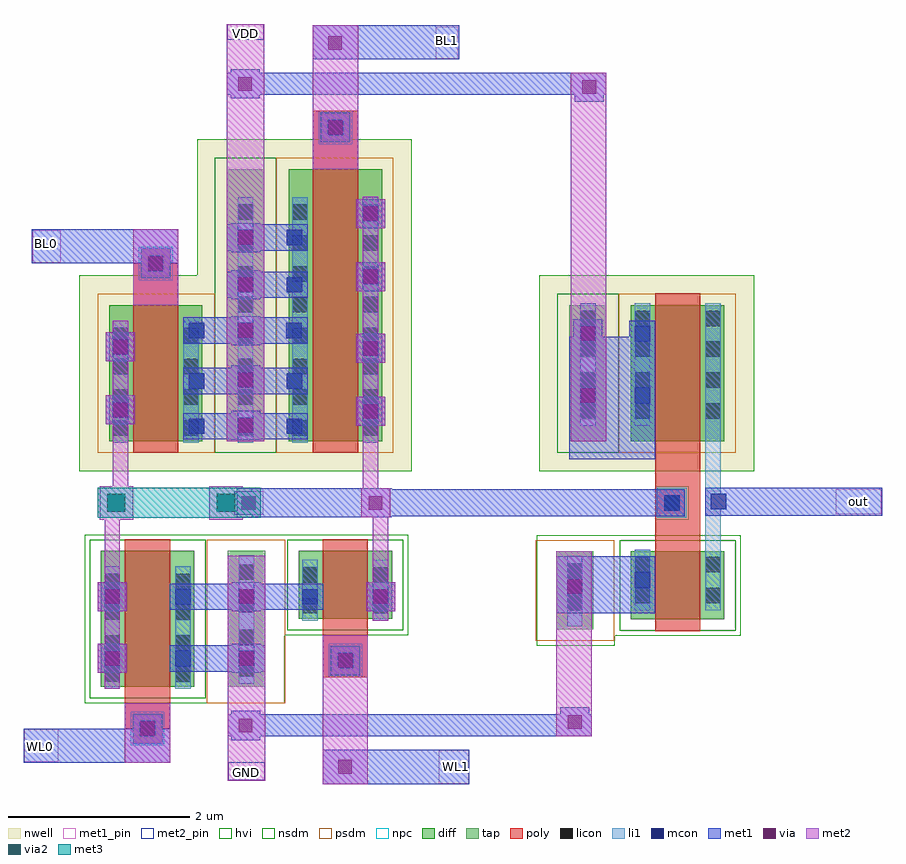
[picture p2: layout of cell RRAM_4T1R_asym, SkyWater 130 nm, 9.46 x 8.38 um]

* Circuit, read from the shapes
.subckt RRAM_4T1R_asym BL0 BL1 GND VDD WL0 WL1 out
XM1 GND WL0 rram2_0_2/BE GND sky130_fd_pr__nfet_g5v0d10v5 w=1.5 l=0.5
XM2 rram2_0_2/BE WL1 GND GND sky130_fd_pr__nfet_g5v0d10v5 w=0.75 l=0.5
XM3 out rram2_0_2/BE GND GND sky130_fd_pr__nfet_g5v0d10v5 w=0.75 l=0.5
XM4 VDD BL0 rram2_0_2/BE VDD sky130_fd_pr__pfet_g5v0d10v5 w=1.5 l=0.5
XM5 rram2_0_2/BE BL1 VDD VDD sky130_fd_pr__pfet_g5v0d10v5 w=3 l=0.5
XM6 out rram2_0_2/BE VDD VDD sky130_fd_pr__pfet_g5v0d10v5 w=1.5 l=0.5
.ends

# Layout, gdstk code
from math import pi, radians
import gdstk
lib = gdstk.Library(unit=1e-6, precision=1e-09)
def R(c, l, rs):  # rectangles x0, y0, x1, y1
    for r in rs: c.add(gdstk.rectangle(r[:2], r[2:], *l))
def A(c, l, x, y, w, h, nx, ny, dx, dy):  # array of equal rectangles
    R(c, l, [(x+i*dx, y+j*dy, x+i*dx+w, y+j*dy+h) for i in range(nx) for j in range(ny)])
nwell = (64, 20)
diff = (65, 20)
tap = (65, 44)
poly = (66, 20)
licon = (66, 44)
li1 = (67, 20)
mcon = (67, 44)
met1_pin = (68, 16)
met1 = (68, 20)
via = (68, 44)
met2_pin = (69, 16)
met2 = (69, 20)
via2 = (69, 44)
met3 = (70, 20)
hvi = (75, 20)
nsdm = (93, 44)
psdm = (94, 20)
npc = (95, 20)

dfl1sd_cdns_630369580171 = lib.new_cell('DFL1sd_CDNS_6303695801715')
R(dfl1sd_cdns_630369580171, nwell, [(-0.18,-0.18,0.445,3.18)])
R(dfl1sd_cdns_630369580171, diff, [(0,0,0.265,3)])
A(dfl1sd_cdns_630369580171, licon, 0.055, 0.06, 0.17, 0.17, 1, 8, 0, 0.34)
R(dfl1sd_cdns_630369580171, li1, [(0.055,-0.02,0.225,2.69)])
R(dfl1sd_cdns_630369580171, psdm, [(-0.125,-0.125,0.39,3.125)])

pfet_symbolic_cdns_63036 = lib.new_cell('pfet_symbolic_CDNS_6303695801714')
R(pfet_symbolic_cdns_63036, nwell, [(-0.445,-0.18,0.945,3.18)])
R(pfet_symbolic_cdns_63036, diff, [(-0.25,0,0,3), (0,0,0.5,3), (0.5,0,0.75,3)])
R(pfet_symbolic_cdns_63036, poly, [(0,-0.13,0.5,0), (0,-0.13,0.5,3.13), (0,3,0.5,3.13)])
R(pfet_symbolic_cdns_63036, li1, [(-0.225,-0.02,-0.055,2.69), (0.555,-0.02,0.725,2.69)])
R(pfet_symbolic_cdns_63036, psdm, [(-0.25,-0.125,0.75,3.125)])
pfet_symbolic_cdns_63036.add(gdstk.Reference(dfl1sd_cdns_630369580171, (0,0), rotation=pi, x_reflection=True))
pfet_symbolic_cdns_63036.add(gdstk.Reference(dfl1sd_cdns_630369580171, (0.5,0)))
pfet_symbolic_cdns_63036.add(gdstk.Label('S', (-0.14,1.335), layer=83, texttype=44))
pfet_symbolic_cdns_63036.add(gdstk.Label('D', (0.64,1.335), layer=83, texttype=44))

pfet_cdns_6303695801713 = lib.new_cell('pfet_CDNS_6303695801713')
R(pfet_cdns_6303695801713, nwell, [(-1.275,-0.33,-0.445,3.33), (-0.595,-0.33,1.095,3.33)])
R(pfet_cdns_6303695801713, tap, [(-0.945,0,-0.535,3)])
A(pfet_cdns_6303695801713, licon, -0.825, 0.06, 0.17, 0.17, 1, 8, 0, 0.34)
R(pfet_cdns_6303695801713, li1, [(-0.825,-0.02,-0.655,2.69)])
R(pfet_cdns_6303695801713, hvi, [(-1.275,-0.33,-0.445,3.33), (-0.595,-0.33,1.095,3.33)])
R(pfet_cdns_6303695801713, nsdm, [(-1.08,-0.125,-0.4,3.125)])
R(pfet_cdns_6303695801713, psdm, [(-0.4,-0.125,-0.39,3.125)])
pfet_cdns_6303695801713.add(gdstk.Reference(pfet_symbolic_cdns_63036, (0,0)))

dfl1sd_cdns_630369580179 = lib.new_cell('DFL1sd_CDNS_630369580179')
R(dfl1sd_cdns_630369580179, diff, [(0,0,0.265,1.5)])
A(dfl1sd_cdns_630369580179, licon, 0.055, 0.06, 0.17, 0.17, 1, 4, 0, 0.34)
R(dfl1sd_cdns_630369580179, li1, [(0.055,-0.02,0.225,1.33)])
R(dfl1sd_cdns_630369580179, nsdm, [(-0.125,-0.125,0.39,1.625)])

nfet_symbolic_cdns_63036 = lib.new_cell('nfet_symbolic_CDNS_630369580178')
R(nfet_symbolic_cdns_63036, diff, [(-0.25,0,0,1.5), (0,0,0.5,1.5), (0.5,0,0.75,1.5)])
R(nfet_symbolic_cdns_63036, poly, [(0,-0.13,0.5,0), (0,-0.13,0.5,1.63), (0,1.5,0.5,1.63)])
R(nfet_symbolic_cdns_63036, li1, [(-0.225,-0.02,-0.055,1.33), (0.555,-0.02,0.725,1.33)])
R(nfet_symbolic_cdns_63036, nsdm, [(-0.25,-0.125,0.75,1.625)])
nfet_symbolic_cdns_63036.add(gdstk.Reference(dfl1sd_cdns_630369580179, (0,0), rotation=pi, x_reflection=True))
nfet_symbolic_cdns_63036.add(gdstk.Reference(dfl1sd_cdns_630369580179, (0.5,0)))
nfet_symbolic_cdns_63036.add(gdstk.Label('S', (-0.14,0.655), layer=83, texttype=44))
nfet_symbolic_cdns_63036.add(gdstk.Label('D', (0.64,0.655), layer=83, texttype=44))

nfet_cdns_630369580177 = lib.new_cell('nfet_CDNS_630369580177')
R(nfet_cdns_630369580177, hvi, [(-0.445,-0.18,0.945,1.68)])
nfet_cdns_630369580177.add(gdstk.Reference(nfet_symbolic_cdns_63036, (0,0)))

rram2_0 = lib.new_cell('rram2_0')
R(rram2_0, met1_pin, [(-0.16,-0.13,0.16,0.13)])
R(rram2_0, met1, [(-0.16,-0.13,0.16,0.13)])
R(rram2_0, via, [(-0.075,-0.075,0.075,0.075)])
R(rram2_0, met2_pin, [(-0.13,-0.16,0.13,0.16)])
R(rram2_0, met2, [(-0.13,-0.16,0.13,0.16)])
rram2_0.add(gdstk.Label('TE', (0,0), layer=69, texttype=5))
rram2_0.add(gdstk.Label('BE', (0,0), layer=68, texttype=5))

dfl1sd_cdns_630369580176 = lib.new_cell('DFL1sd_CDNS_630369580176')
R(dfl1sd_cdns_630369580176, diff, [(0,0,0.265,0.75)])
R(dfl1sd_cdns_630369580176, licon, [(0.055,0.06,0.225,0.23), (0.055,0.4,0.225,0.57)])
R(dfl1sd_cdns_630369580176, li1, [(0.055,-0.02,0.225,0.65)])
R(dfl1sd_cdns_630369580176, nsdm, [(-0.125,-0.125,0.39,0.875)])

c_nfet_symbolic_cdns_63036 = lib.new_cell('nfet_symbolic_CDNS_630369580175')
R(c_nfet_symbolic_cdns_63036, diff, [(-0.25,0,0,0.75), (0,0,0.5,0.75), (0.5,0,0.75,0.75)])
R(c_nfet_symbolic_cdns_63036, poly, [(0,-0.13,0.5,0), (0,-0.13,0.5,0.88), (0,0.75,0.5,0.88)])
R(c_nfet_symbolic_cdns_63036, li1, [(-0.225,-0.02,-0.055,0.65), (0.555,-0.02,0.725,0.65)])
R(c_nfet_symbolic_cdns_63036, nsdm, [(-0.25,-0.125,0.75,0.875)])
c_nfet_symbolic_cdns_63036.add(gdstk.Reference(dfl1sd_cdns_630369580176, (0,0), rotation=pi, x_reflection=True))
c_nfet_symbolic_cdns_63036.add(gdstk.Reference(dfl1sd_cdns_630369580176, (0.5,0)))
c_nfet_symbolic_cdns_63036.add(gdstk.Label('S', (-0.14,0.315), layer=83, texttype=44))
c_nfet_symbolic_cdns_63036.add(gdstk.Label('D', (0.64,0.315), layer=83, texttype=44))

nfet_cdns_630369580174 = lib.new_cell('nfet_CDNS_630369580174')
R(nfet_cdns_630369580174, hvi, [(-0.445,-0.18,0.945,0.93)])
nfet_cdns_630369580174.add(gdstk.Reference(c_nfet_symbolic_cdns_63036, (0,0)))

c_dfl1sd_cdns_630369580171 = lib.new_cell('DFL1sd_CDNS_6303695801712')
R(c_dfl1sd_cdns_630369580171, nwell, [(-0.18,-0.18,0.445,1.68)])
R(c_dfl1sd_cdns_630369580171, diff, [(0,0,0.265,1.5)])
A(c_dfl1sd_cdns_630369580171, licon, 0.055, 0.06, 0.17, 0.17, 1, 4, 0, 0.34)
R(c_dfl1sd_cdns_630369580171, li1, [(0.055,-0.02,0.225,1.33)])
R(c_dfl1sd_cdns_630369580171, psdm, [(-0.125,-0.125,0.39,1.625)])

c_pfet_symbolic_cdns_63036 = lib.new_cell('pfet_symbolic_CDNS_6303695801711')
R(c_pfet_symbolic_cdns_63036, nwell, [(-0.445,-0.18,0.945,1.68)])
R(c_pfet_symbolic_cdns_63036, diff, [(-0.25,0,0,1.5), (0,0,0.5,1.5), (0.5,0,0.75,1.5)])
R(c_pfet_symbolic_cdns_63036, poly, [(0,-0.13,0.5,0), (0,-0.13,0.5,1.63), (0,1.5,0.5,1.63)])
R(c_pfet_symbolic_cdns_63036, li1, [(-0.225,-0.02,-0.055,1.33), (0.555,-0.02,0.725,1.33)])
R(c_pfet_symbolic_cdns_63036, psdm, [(-0.25,-0.125,0.75,1.625)])
c_pfet_symbolic_cdns_63036.add(gdstk.Reference(c_dfl1sd_cdns_630369580171, (0,0), rotation=pi, x_reflection=True))
c_pfet_symbolic_cdns_63036.add(gdstk.Reference(c_dfl1sd_cdns_630369580171, (0.5,0)))
c_pfet_symbolic_cdns_63036.add(gdstk.Label('S', (-0.14,0.655), layer=83, texttype=44))
c_pfet_symbolic_cdns_63036.add(gdstk.Label('D', (0.64,0.655), layer=83, texttype=44))

pfet_cdns_6303695801710 = lib.new_cell('pfet_CDNS_6303695801710')
R(pfet_cdns_6303695801710, nwell, [(-1.275,-0.33,-0.445,1.83), (-0.595,-0.33,1.095,1.83)])
R(pfet_cdns_6303695801710, tap, [(-0.945,0,-0.535,1.5)])
A(pfet_cdns_6303695801710, licon, -0.825, 0.06, 0.17, 0.17, 1, 4, 0, 0.34)
R(pfet_cdns_6303695801710, li1, [(-0.825,-0.02,-0.655,1.33)])
R(pfet_cdns_6303695801710, hvi, [(-1.275,-0.33,-0.445,1.83), (-0.595,-0.33,1.095,1.83)])
R(pfet_cdns_6303695801710, nsdm, [(-1.08,-0.125,-0.4,1.625)])
R(pfet_cdns_6303695801710, psdm, [(-0.4,-0.125,-0.39,1.625)])
pfet_cdns_6303695801710.add(gdstk.Reference(c_pfet_symbolic_cdns_63036, (0,0)))

l1m1_c_cdns_630369580172 = lib.new_cell('L1M1_C_CDNS_6303695801729')
R(l1m1_c_cdns_630369580172, li1, [(-0.085,-0.085,0.085,0.085)])
R(l1m1_c_cdns_630369580172, mcon, [(-0.085,-0.085,0.085,0.085)])
R(l1m1_c_cdns_630369580172, met1, [(-0.16,-0.16,0.16,0.16)])

m1m2_c_cdns_630369580172 = lib.new_cell('M1M2_C_CDNS_6303695801725')
R(m1m2_c_cdns_630369580172, met1, [(-0.16,-0.16,0.16,0.16)])
R(m1m2_c_cdns_630369580172, via, [(-0.075,-0.075,0.075,0.075)])
R(m1m2_c_cdns_630369580172, met2, [(-0.16,-0.16,0.16,0.16)])

pyl1_c_cdns_630369580173 = lib.new_cell('PYL1_C_CDNS_6303695801737')
R(pyl1_c_cdns_630369580173, poly, [(-0.165,-0.165,0.165,0.165)])
R(pyl1_c_cdns_630369580173, licon, [(-0.085,-0.085,0.085,0.085)])
R(pyl1_c_cdns_630369580173, li1, [(-0.165,-0.165,0.165,0.165)])
R(pyl1_c_cdns_630369580173, npc, [(-0.185,-0.185,0.185,0.185)])

l1m1_c_cdns_630369580173 = lib.new_cell('L1M1_C_CDNS_6303695801734')
R(l1m1_c_cdns_630369580173, li1, [(-0.085,-0.085,0.085,0.085)])
R(l1m1_c_cdns_630369580173, mcon, [(-0.085,-0.085,0.085,0.085)])
R(l1m1_c_cdns_630369580173, met1, [(-0.145,-0.145,0.145,0.145)])

m2m3_c_cdns_630369580173 = lib.new_cell('M2M3_C_CDNS_6303695801738')
R(m2m3_c_cdns_630369580173, met2, [(-0.185,-0.185,0.185,0.185)])
R(m2m3_c_cdns_630369580173, via2, [(-0.1,-0.1,0.1,0.1)])
R(m2m3_c_cdns_630369580173, met3, [(-0.165,-0.165,0.165,0.165)])

rram_4t1r_asym = lib.new_cell('RRAM_4T1R_asym')
R(rram_4t1r_asym, tap, [(1.84,-1.28,2.25,0.22), (5.46,-0.645,5.87,0.215)])
R(rram_4t1r_asym, poly, [(0.705,-1.74,1.205,-1.41), (2.885,-1.175,3.385,-0.66), (6.55,0.345,7.05,1.3), (0.795,3.06,1.295,3.39), (2.775,4.56,3.275,5.075)])
R(rram_4t1r_asym, licon, [(1.96,-1.16,2.13,-0.99), (1.96,-0.82,2.13,-0.65), (1.96,-0.455,2.13,-0.285), (5.58,-0.44,5.75,-0.27), (1.96,-0.1,2.13,0.07), (5.58,-0.085,5.75,0.085)])
R(rram_4t1r_asym, li1, [(1.96,-1.245,2.13,0.17), (5.58,-0.61,5.75,0.165), (7.105,0.215,7.275,1.6)])
R(rram_4t1r_asym, met1_pin, [(4.165,-2.345,4.495,-1.98), (-0.405,-2.105,-0.03,-1.745), (8.545,0.625,9.045,0.9), (-0.31,3.395,-0.005,3.755), (4.13,5.645,4.375,6)])
R(rram_4t1r_asym, met1, [(2.885,-2.35,4.5,-1.975), (-0.41,-2.115,1.205,-1.74), (1.84,-1.825,5.855,-1.58), (1.26,-1.11,2.25,-0.82), (5.46,-0.465,6.55,0.16), (1.26,-0.43,2.83,-0.14), (2.105,0.59,3.645,0.91), (3.63,0.605,6.87,0.9), (7.105,0.61,9.055,0.915), (5.605,1.23,6.55,2.58), (1.35,1.45,2.72,1.74), (1.35,1.95,2.72,2.24), (1.35,2.505,2.72,2.795), (1.83,3.01,2.72,3.3), (-0.32,3.39,1.295,3.765), (1.83,3.53,2.72,3.82), (1.83,5.25,6.015,5.495), (2.775,5.64,4.39,6.015)])
R(rram_4t1r_asym, met2_pin, [(1.845,-2.31,2.245,-2.11), (1.835,5.855,2.235,6.025)])
R(rram_4t1r_asym, met2, [(2.885,-2.35,3.385,-0.71), (1.84,-2.315,2.25,0.165), (0.705,-2.115,1.205,-1.46), (5.46,-1.825,5.855,0.215), (0.48,-1.3,0.65,0.915), (3.44,-0.55,3.61,0.91), (0.57,0.59,0.74,2.76), (3.33,0.59,3.5,4.125), (1.83,1.43,2.24,6.03), (5.62,1.43,6.015,5.495), (0.795,2.93,1.295,3.765), (2.775,4.43,3.275,6.015)])
R(rram_4t1r_asym, met3, [(0.405,0.585,2.2,0.915)])
R(rram_4t1r_asym, hvi, [(1.605,-1.46,2.465,0.4), (5.245,-0.825,6.105,0.395)])
R(rram_4t1r_asym, psdm, [(1.61,-1.46,2.475,0.345), (5.235,-0.77,6.1,0.34)])
rram_4t1r_asym.add(gdstk.Reference(pfet_cdns_6303695801713, (2.775,1.43)))
rram_4t1r_asym.add(gdstk.Reference(nfet_cdns_630369580177, (1.205,-1.28), rotation=pi, x_reflection=True))
rram_4t1r_asym.add(gdstk.Reference(rram2_0, (2.07,0.75)))
rram_4t1r_asym.add(gdstk.Reference(nfet_cdns_630369580174, (2.885,-0.53)))
rram_4t1r_asym.add(gdstk.Reference(nfet_cdns_630369580174, (6.55,0.215), x_reflection=True))
rram_4t1r_asym.add(gdstk.Reference(pfet_cdns_6303695801710, (1.295,1.43), rotation=pi, x_reflection=True))
rram_4t1r_asym.add(gdstk.Reference(pfet_cdns_6303695801710, (6.55,2.93), x_reflection=True))
rram_4t1r_asym.add(gdstk.Reference(l1m1_c_cdns_630369580172, (0.565,-0.965)))
rram_4t1r_asym.add(gdstk.Reference(l1m1_c_cdns_630369580172, (3.135,-0.99)))
rram_4t1r_asym.add(gdstk.Reference(l1m1_c_cdns_630369580172, (2.045,-0.965)))
rram_4t1r_asym.add(gdstk.Reference(l1m1_c_cdns_630369580172, (2.045,-0.285)))
rram_4t1r_asym.add(gdstk.Reference(l1m1_c_cdns_630369580172, (0.955,-1.74)))
rram_4t1r_asym.add(gdstk.Reference(l1m1_c_cdns_630369580172, (3.525,-0.285)))
rram_4t1r_asym.add(gdstk.Reference(l1m1_c_cdns_630369580172, (0.565,-0.285)))
rram_4t1r_asym.add(gdstk.Reference(l1m1_c_cdns_630369580172, (0.655,1.775)))
rram_4t1r_asym.add(gdstk.Reference(l1m1_c_cdns_630369580172, (0.655,2.47)))
rram_4t1r_asym.add(gdstk.Reference(l1m1_c_cdns_630369580172, (5.81,2.615)))
rram_4t1r_asym.add(gdstk.Reference(l1m1_c_cdns_630369580172, (1.045,3.39)))
rram_4t1r_asym.add(gdstk.Reference(l1m1_c_cdns_630369580172, (5.665,-0.175)))
rram_4t1r_asym.add(gdstk.Reference(l1m1_c_cdns_630369580172, (2.035,1.605)))
rram_4t1r_asym.add(gdstk.Reference(l1m1_c_cdns_630369580172, (2.035,3.155)))
rram_4t1r_asym.add(gdstk.Reference(l1m1_c_cdns_630369580172, (2.035,2.65)))
rram_4t1r_asym.add(gdstk.Reference(l1m1_c_cdns_630369580172, (2.035,2.105)))
rram_4t1r_asym.add(gdstk.Reference(l1m1_c_cdns_630369580172, (2.035,3.675)))
rram_4t1r_asym.add(gdstk.Reference(l1m1_c_cdns_630369580172, (3.025,4.89)))
rram_4t1r_asym.add(gdstk.Reference(l1m1_c_cdns_630369580172, (3.415,1.76)))
rram_4t1r_asym.add(gdstk.Reference(l1m1_c_cdns_630369580172, (3.415,2.455)))
rram_4t1r_asym.add(gdstk.Reference(l1m1_c_cdns_630369580172, (3.415,3.94)))
rram_4t1r_asym.add(gdstk.Reference(l1m1_c_cdns_630369580172, (3.415,3.245)))
rram_4t1r_asym.add(gdstk.Reference(l1m1_c_cdns_630369580172, (5.81,1.935)))
rram_4t1r_asym.add(gdstk.Reference(m1m2_c_cdns_630369580172, (0.565,-0.965)))
rram_4t1r_asym.add(gdstk.Reference(m1m2_c_cdns_630369580172, (3.135,-0.99)))
rram_4t1r_asym.add(gdstk.Reference(m1m2_c_cdns_630369580172, (5.665,-0.175)))
rram_4t1r_asym.add(gdstk.Reference(m1m2_c_cdns_630369580172, (2.045,-0.965)))
rram_4t1r_asym.add(gdstk.Reference(m1m2_c_cdns_630369580172, (2.045,-0.285)))
rram_4t1r_asym.add(gdstk.Reference(m1m2_c_cdns_630369580172, (0.955,-1.74)))
rram_4t1r_asym.add(gdstk.Reference(m1m2_c_cdns_630369580172, (3.525,-0.285)))
rram_4t1r_asym.add(gdstk.Reference(m1m2_c_cdns_630369580172, (0.565,-0.285)))
rram_4t1r_asym.add(gdstk.Reference(m1m2_c_cdns_630369580172, (5.665,-1.665)))
rram_4t1r_asym.add(gdstk.Reference(m1m2_c_cdns_630369580172, (5.81,1.935)))
rram_4t1r_asym.add(gdstk.Reference(m1m2_c_cdns_630369580172, (0.655,1.775)))
rram_4t1r_asym.add(gdstk.Reference(m1m2_c_cdns_630369580172, (0.655,2.47)))
rram_4t1r_asym.add(gdstk.Reference(m1m2_c_cdns_630369580172, (5.825,5.335)))
rram_4t1r_asym.add(gdstk.Reference(m1m2_c_cdns_630369580172, (1.045,3.39)))
rram_4t1r_asym.add(gdstk.Reference(m1m2_c_cdns_630369580172, (5.81,2.615)))
rram_4t1r_asym.add(gdstk.Reference(m1m2_c_cdns_630369580172, (2.035,1.605)))
rram_4t1r_asym.add(gdstk.Reference(m1m2_c_cdns_630369580172, (2.035,3.155)))
rram_4t1r_asym.add(gdstk.Reference(m1m2_c_cdns_630369580172, (2.035,2.65)))
rram_4t1r_asym.add(gdstk.Reference(m1m2_c_cdns_630369580172, (2.035,2.105)))
rram_4t1r_asym.add(gdstk.Reference(m1m2_c_cdns_630369580172, (2.035,3.675)))
rram_4t1r_asym.add(gdstk.Reference(m1m2_c_cdns_630369580172, (3.025,4.89)))
rram_4t1r_asym.add(gdstk.Reference(m1m2_c_cdns_630369580172, (3.415,1.76)))
rram_4t1r_asym.add(gdstk.Reference(m1m2_c_cdns_630369580172, (3.415,2.455)))
rram_4t1r_asym.add(gdstk.Reference(m1m2_c_cdns_630369580172, (3.415,3.94)))
rram_4t1r_asym.add(gdstk.Reference(m1m2_c_cdns_630369580172, (3.415,3.245)))
rram_4t1r_asym.add(gdstk.Reference(m1m2_c_cdns_630369580172, (3.47,0.75)))
rram_4t1r_asym.add(gdstk.Reference(m1m2_c_cdns_630369580172, (2.035,-1.705)))
rram_4t1r_asym.add(gdstk.Reference(m1m2_c_cdns_630369580172, (2.03,5.37)))
rram_4t1r_asym.add(gdstk.Reference(m1m2_c_cdns_630369580172, (3.13,-2.16)))
rram_4t1r_asym.add(gdstk.Reference(m1m2_c_cdns_630369580172, (3.02,5.82)))
rram_4t1r_asym.add(gdstk.Reference(pyl1_c_cdns_630369580173, (3.135,-0.99)))
rram_4t1r_asym.add(gdstk.Reference(pyl1_c_cdns_630369580173, (0.955,-1.74)))
rram_4t1r_asym.add(gdstk.Reference(pyl1_c_cdns_630369580173, (6.735,0.75)))
rram_4t1r_asym.add(gdstk.Reference(pyl1_c_cdns_630369580173, (1.045,3.39)))
rram_4t1r_asym.add(gdstk.Reference(pyl1_c_cdns_630369580173, (3.025,4.89)))
rram_4t1r_asym.add(gdstk.Reference(l1m1_c_cdns_630369580173, (2.745,-0.285)))
rram_4t1r_asym.add(gdstk.Reference(l1m1_c_cdns_630369580173, (1.345,-0.965)))
rram_4t1r_asym.add(gdstk.Reference(l1m1_c_cdns_630369580173, (1.345,-0.285)))
rram_4t1r_asym.add(gdstk.Reference(l1m1_c_cdns_630369580173, (6.735,0.75)))
rram_4t1r_asym.add(gdstk.Reference(l1m1_c_cdns_630369580173, (1.495,1.595)))
rram_4t1r_asym.add(gdstk.Reference(l1m1_c_cdns_630369580173, (1.495,2.095)))
rram_4t1r_asym.add(gdstk.Reference(l1m1_c_cdns_630369580173, (1.495,2.65)))
rram_4t1r_asym.add(gdstk.Reference(l1m1_c_cdns_630369580173, (2.57,2.65)))
rram_4t1r_asym.add(gdstk.Reference(l1m1_c_cdns_630369580173, (2.575,1.595)))
rram_4t1r_asym.add(gdstk.Reference(l1m1_c_cdns_630369580173, (2.575,3.155)))
rram_4t1r_asym.add(gdstk.Reference(l1m1_c_cdns_630369580173, (2.575,2.095)))
rram_4t1r_asym.add(gdstk.Reference(l1m1_c_cdns_630369580173, (2.575,3.675)))
rram_4t1r_asym.add(gdstk.Reference(l1m1_c_cdns_630369580173, (6.41,-0.1)))
rram_4t1r_asym.add(gdstk.Reference(l1m1_c_cdns_630369580173, (7.25,0.765)))
rram_4t1r_asym.add(gdstk.Reference(l1m1_c_cdns_630369580173, (6.41,2.615)))
rram_4t1r_asym.add(gdstk.Reference(l1m1_c_cdns_630369580173, (6.41,1.935)))
rram_4t1r_asym.add(gdstk.Reference(m2m3_c_cdns_630369580173, (0.61,0.75)))
rram_4t1r_asym.add(gdstk.Reference(m2m3_c_cdns_630369580173, (1.82,0.75)))
rram_4t1r_asym.add(gdstk.Label('WL1', (4.36,-2.16), layer=68, texttype=16))
rram_4t1r_asym.add(gdstk.Label('WL0', (-0.225,-1.94), layer=68, texttype=16))
rram_4t1r_asym.add(gdstk.Label('BL0', (-0.16,3.61), layer=68, texttype=16))
rram_4t1r_asym.add(gdstk.Label('BL1', (4.265,5.85), layer=68, texttype=16))
rram_4t1r_asym.add(gdstk.Label('out', (8.79,0.77), layer=68, texttype=16))
rram_4t1r_asym.add(gdstk.Label('VDD', (2.035,5.93), layer=69, texttype=16))
rram_4t1r_asym.add(gdstk.Label('GND', (2.045,-2.22), layer=69, texttype=16))

lib.write_gds('RRAM_4T1R_asym.gds')
